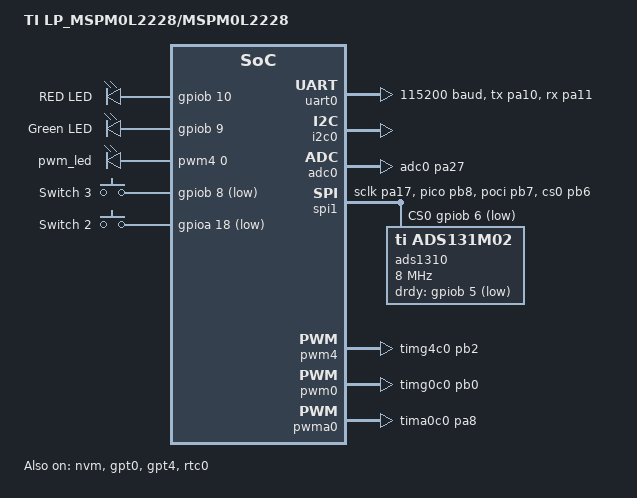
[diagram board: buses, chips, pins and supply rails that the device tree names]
/* SPDX-License-Identifier: Apache-2.0 */

/dts-v1/;

#include <ti/mspm0l122x_l222x/mspm0l2228.dtsi>
#include <ti/mspm0l122x_l222x/mspm0l2228-pinctrl.dtsi>
#include <zephyr/dt-bindings/input/input-event-codes.h>
#include <zephyr/dt-bindings/adc/mspm0_adc.h>
#include <zephyr/dt-bindings/pwm/pwm.h>

/ {
	model = "TI LP_MSPM0L2228/MSPM0L2228";
	compatible = "ti,mspm0l2228";

	aliases {
		led0 = &led0;
		led1 = &led1;
		sw0 = &btn0;
		sw1 = &btn1;
		pwm-led0 = &pwm_led;
	};

	chosen {
		zephyr,sram = &sram0;
		zephyr,flash = &nvm;
		zephyr,flash-controller = &flashctl;
		zephyr,console = &uart0;
		zephyr,shell-uart = &uart0;
		zephyr,code-partition = &slot0_partition;
	};

	leds {
		compatible = "gpio-leds";
		led0: led_0 {
			gpios = <&gpiob 10 GPIO_ACTIVE_HIGH>;
			label = "RED LED";
		};
		led1: led_1 {
			gpios = <&gpiob 9 GPIO_ACTIVE_HIGH>;
			label = "Green LED";
		};
	};

	pwmleds {
		compatible = "pwm-leds";

		pwm_led: pwm_led {
			pwms = <&pwm4 0 PWM_MSEC(20) PWM_POLARITY_NORMAL>;
		};
	};

	keys {
		compatible = "gpio-keys";
		btn0: btn_0 {
			gpios = <&gpiob 8 (GPIO_ACTIVE_LOW | GPIO_PULL_UP)>;
			label = "Switch 3";
			zephyr,code = <INPUT_KEY_0>;
		};
		btn1: btn_1 {
			gpios = <&gpioa 18 (GPIO_ACTIVE_LOW | GPIO_PULL_UP)>;
			label = "Switch 2";
			zephyr,code = <INPUT_KEY_1>;
		};
	};
};

&cpu0 {
	clock-frequency = <DT_FREQ_M(32)>;
};

&clkmux {
	clock-source = <&sysosc>;
	clock-frequency = <DT_FREQ_M(32)>;
};

&nvm {
	status = "okay";
	partitions {
		compatible = "fixed-partitions";
		#address-cells = <1>;
		#size-cells = <1>;

		boot_partition: partition@0 {
			label = "mcuboot";
			reg = <0x00000000 0x8000>;
		};
		slot0_partition: partition@8000 {
			label = "image-0";
			reg = <0x00008000 0xB000>;
		};
		slot1_partition: partition@13000 {
			label = "image-1";
			reg = <0x00013000 0xB000>;
		};
		scratch_partition: partition@15000 {
			label = "image-scratch";
			reg = <0x00015000 0x2000>;
		};
	};
};

&gpioa {
	status = "okay";
};

&gpiob {
	status = "okay";
};

&gpioc {
	status = "okay";
};

&uart0 {
	status = "okay";
	current-speed = <115200>;
	pinctrl-0 = <&uart0_tx_pa10 &uart0_rx_pa11>;
	pinctrl-names = "default";
};

&i2c0 {
	pinctrl-0 = <&i2c0_scl_pa1_pull_up &i2c0_sda_pa0_pull_up>;
	pinctrl-names = "default";
	status = "okay";
};

&adc0 {
	ti,clk-source = <MSP_ADC_CLOCK_ULPCLK>;
	ti,clk-divider = <8>;
	ti,clk-range = <MSP_ADC_CLOCK_RANGE_24TO32>;
	vref-mv = <2500>;
	pinctrl-0 = <&adc0_pa27>;
	pinctrl-names = "default";
	status = "okay";
};

&wdt0 {
	status = "disabled";
}; 

&spi1 {
	pinctrl-0 = <&spi1_sclk_pa17 &spi1_pico_pb8 &spi1_poci_pb7 &spi1_cs0_pb6>;
	pinctrl-names = "default";
	status = "okay";
	#address-cells = <1>;
	#size-cells = <0>;

	cs-gpios = <&gpiob 6 (GPIO_ACTIVE_LOW)>;
	ads1310: ads1310@0 {
		compatible = "ti,ads131m02";
		reg = <0>;
		#io-channel-cells = <1>;
		drdy-gpios = <&gpiob 5 (GPIO_ACTIVE_LOW)>;
		spi-max-frequency = <8000000>;
	};
};

&gpt0 {
	status = "okay";
};

&gpt4 {
	status = "okay";
};

&pwm4 {
	status = "okay";
	pinctrl-0 = <&timg4c0_pb2>;
	pinctrl-names = "default";
	ti,cc-index = <0>;
	ti,clk-prescaler = <255>;
	ti,clk-div = <1>;
	ti,cc-mode = "PULSE_WIDTH";
	ti,period = <65535>;
};

&pwm0 {
	status = "okay";
	pinctrl-0 = <&timg0c0_pb0>;
	pinctrl-names = "default";
	ti,cc-index = <0>;
	ti,clk-prescaler = <255>;
	ti,clk-div = <1>;
	ti,pwm-mode = "EDGE_ALIGN";
	ti,pulse-cycle = <500>;
	ti,period = <1000>;
};

&pwma0 {
	status = "okay";
	pinctrl-0 = <&tima0c0_pa8>;
	pinctrl-names = "default";
	ti,cc-index = <0>;
	ti,clk-prescaler = <9>;
	ti,clk-div = <1>;
	ti,pwm-mode = "CENTER_ALIGN";
	ti,pulse-cycle = <3>;
	ti,period = <10>;
};

&rtc0 {
	status = "okay";
};
